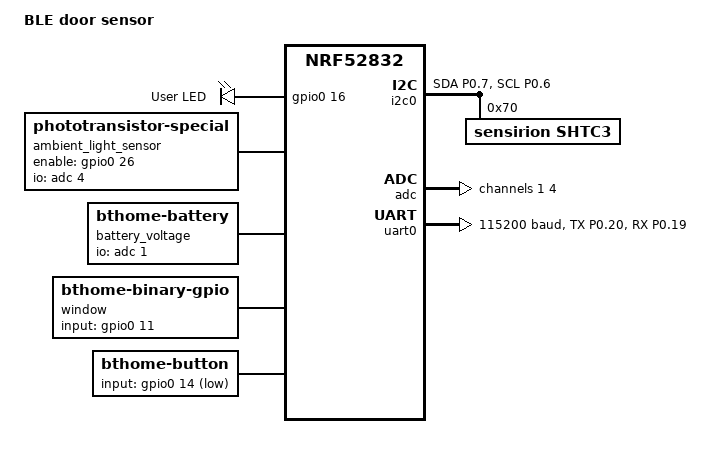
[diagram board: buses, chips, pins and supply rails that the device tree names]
/*
 * Copyright (c) 2024 Fabian Pflug
 *
 * SPDX-License-Identifier: Apache-2.0
 */

/dts-v1/;
#include <nordic/nrf52832_qfaa.dtsi>
#include <zephyr/dt-bindings/input/input-event-codes.h>

/ {
	model = "BLE door sensor";

	chosen {
		zephyr,console = &uart0;
		zephyr,shell-uart = &uart0;
		zephyr,uart-mcumgr = &uart0;
		zephyr,bt-mon-uart = &uart0;
		zephyr,bt-c2h-uart = &uart0;
		zephyr,sram = &sram0;
		zephyr,flash = &flash0;
		zephyr,code-partition = &slot0_partition;
	};

	aliases {
		led0 = &led0;
		watchdog0 = &wdt0;
	};

	leds {
		compatible = "gpio-leds";
		led0: led_0 {
			gpios = <&gpio0 16 GPIO_ACTIVE_HIGH>;
			label = "User LED";
		};
	};

	ambient_light_sensor {
		compatible = "phototransistor-special";
		enable-gpios = <&gpio0 26 GPIO_ACTIVE_HIGH>;
		io-channels = <&adc 4>;
		pulldown-ohm = <1000>;
	};

	battery_voltage {
		compatible = "bthome-battery";
		io-channels = <&adc 1>;
		voltage-full = <3300>;
		voltage-empty = <2500>;
	};

	temp_humidity {
		compatible = "bthome-temp-humidity";
		sensor = <&shtc3>;
		include-temperature;
		include-humidity;
	};

	window {
		compatible = "bthome-binary-gpio";
		input-gpios = <&gpio0 11 GPIO_ACTIVE_HIGH>;
		bthome-sensor-type = <0x2D>;
	};

	button {
		compatible = "bthome-button";
		input-gpios = <&gpio0 14 GPIO_ACTIVE_LOW>;
	};
};

&i2c0 {
	compatible = "nordic,nrf-twim";
	status = "okay";

	pinctrl-0 = <&i2c0_default>;
	pinctrl-1 = <&i2c0_sleep>;
	pinctrl-names = "default", "sleep";

	shtc3: shtc3@70 {
		status = "okay";
		compatible = "sensirion,shtc3", "sensirion,shtcx";
		reg = <0x70>;
		// may also be measure-mode = "low-power";
		measure-mode = "normal";
		clock-stretching;
	};
};


&adc {
	#address-cells = <1>;
	#size-cells = <0>;
	status = "okay";

	channel@1 {
		reg = <1>;
		zephyr,gain = "ADC_GAIN_1_6";
		zephyr,reference = "ADC_REF_INTERNAL";
		zephyr,acquisition-time = <ADC_ACQ_TIME_DEFAULT>;
		zephyr,input-positive = <NRF_SAADC_VDD>;
		zephyr,resolution = <12>;
	};

	channel@4 {
		reg = <4>;
		zephyr,gain = "ADC_GAIN_1_6";
		zephyr,reference = "ADC_REF_INTERNAL";
		zephyr,acquisition-time = <ADC_ACQ_TIME_DEFAULT>; /* 10us */
		zephyr,input-positive = <NRF_SAADC_AIN4>; /* P0.28 */
		zephyr,oversampling = <3>; /* x8 */
		zephyr,resolution = <12>;
	};
};

&uicr {
	gpio-as-nreset;
};

&gpiote {
	status = "okay";
};

&gpio0 {
	status = "okay";
};

&uart0 {
	compatible = "nordic,nrf-uarte";
	current-speed = <115200>;
	status = "okay";
	pinctrl-0 = <&uart0_default>;
	pinctrl-1 = <&uart0_sleep>;
	pinctrl-names = "default", "sleep";
};

&flash0 {

	partitions {
		compatible = "fixed-partitions";
		#address-cells = <1>;
		#size-cells = <1>;

		boot_partition: partition@0 {
			label = "mcuboot";
			// 24kByte
			reg = <0x00000000 0x06000>;
		};
		slot0_partition: partition@6000 {
			label = "image-0";
			// 232kByte
			reg = <0x00006000 0x3A000>;
		};
		slot1_partition: partition@40000 {
			label = "image-1";
			// 232kByte
			reg = <0x00040000 0x3A000>;
		};
		scratch_partition: partition@7a000 {
			label = "image-scratch";
			// 20kByte
			reg = <0x0007A000 0x05000>;
		};
		storage_partition: partition@7f000 {
			label = "storage";
			// 4kByte
			reg = <0x0007F000 0x00001000>;
		};
	};
};


&pinctrl {
	uart0_default: uart0_default {
		group1 {
			psels = <NRF_PSEL(UART_TX, 0, 20)>,
				<NRF_PSEL(UART_RX, 0, 19)>;
		};
	};

	uart0_sleep: uart0_sleep {
		group1 {
			psels = <NRF_PSEL(UART_TX, 0, 20)>,
				<NRF_PSEL(UART_RX, 0, 19)>;
			low-power-enable;
		};
	};

	i2c0_default: i2c0_default {
		group1 {
			psels = <NRF_PSEL(TWIM_SDA, 0, 7)>,
				<NRF_PSEL(TWIM_SCL, 0, 6)>;
		};
	};

	i2c0_sleep: i2c0_sleep {
		group1 {
			psels = <NRF_PSEL(TWIM_SDA, 0, 7)>,
				<NRF_PSEL(TWIM_SCL, 0, 6)>;
			low-power-enable;
		};
	};
};
